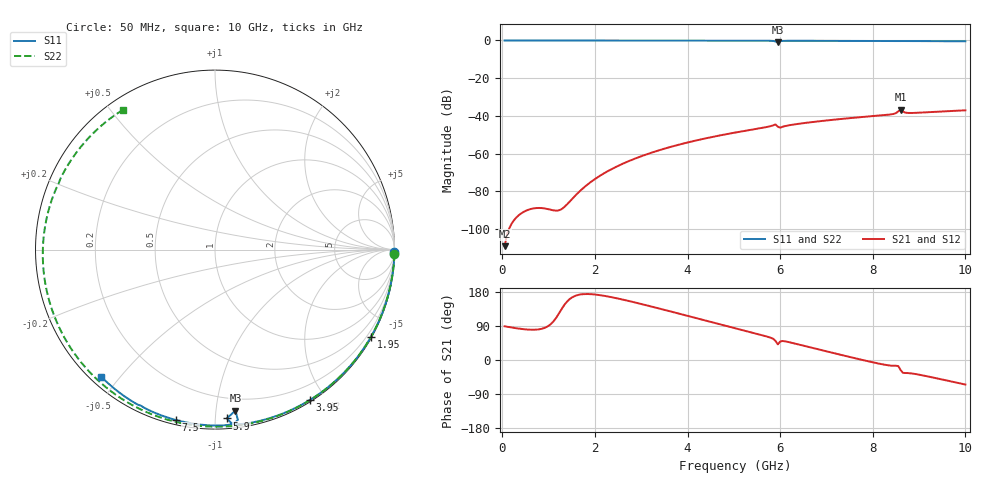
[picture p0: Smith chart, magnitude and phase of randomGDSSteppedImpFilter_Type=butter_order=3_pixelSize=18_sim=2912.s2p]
! freq	dB(S11)	phase(S11)	dB(S12)	phase(S12)
!  dB(S21)	phase(S21)	dB(S22)	phase(S22)
!S-par simulation data
#  GHz  S  DB  R 50
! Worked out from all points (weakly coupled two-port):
!   200 points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, 50 MHz to 10 GHz, reference 50 ohm
!   highest |S21| = -36.68 dB at 8.6 GHz (marker M1); lowest = -109.0 dB at 50 MHz (marker M2)
!   lowest |S11| = -0.9 dB at 5.95 GHz (marker M3), VSWR 19.82, Z = 5.75 - j56.4 ohm
!   |S11| at or under -10 dB: nowhere
!   |S22| runs from -0.6 to 0.0 dB; largest |S21 - S12| = 0
!   S11 on the Smith chart (normalised r, x): 50 MHz: open; 1.95 GHz: 0.03, -3.83; 3.95 GHz: 0.02, -1.81; 5.9 GHz: 0.06, -1.07; 7.5 GHz: 0.02, -0.80; 10 GHz: 0.03, -0.45
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0.05  -0.00 -0.8  -109.02 88.8  -109.02 88.8  -0.00 -1.4
0.8  -0.02 -12.1  -88.76 81.1  -88.76 81.1  -0.03 -22.6
1.65  -0.03 -24.8  -80.41 172.1  -80.41 172.1  -0.06 -45.8
1.75  -0.03 -26.3  -78.18 173.8  -78.18 173.8  -0.06 -48.5
1.95  -0.04 -29.3  -74.31 173.4  -74.31 173.4  -0.07 -53.8
2.6  -0.05 -38.7  -65.34 159.4  -65.34 159.4  -0.09 -70.5
3.4  -0.07 -50.1  -58.09 135.5  -58.09 135.5  -0.11 -90.1
3.95  -0.08 -57.8  -54.37 118.1  -54.37 118.1  -0.14 -102.9
5.05  -0.11 -72.6  -48.71 83.1  -48.71 83.1  -0.19 -127.4
5.75  -0.16 -82.5  -45.67 60.6  -45.67 60.6  -0.23 -142.3
5.9  -0.51 -86.0  -44.51 50.2  -44.51 50.2  -0.24 -145.5
5.95  -0.88 -82.8  -45.70 41.2  -45.70 41.2  -0.24 -146.6
6  -0.37 -82.3  -46.24 48.6  -46.24 48.6  -0.24 -147.6
6.1  -0.20 -84.7  -45.41 49.4  -45.41 49.4  -0.25 -149.7
6.7  -0.18 -93.1  -43.23 31.9  -43.23 31.9  -0.29 -162.3
7.5  -0.23 -102.9  -41.17 8.0  -41.17 8.0  -0.36 -179.3
8.35  -0.29 -112.9  -39.31 -14.3  -39.31 -14.3  -0.44 162.2
8.5  -0.31 -114.7  -38.52 -15.1  -38.52 -15.1  -0.47 158.8
8.6  -0.33 -115.6  -36.68 -26.3  -36.68 -26.3  -0.48 156.7
8.7  -0.31 -116.9  -38.22 -34.4  -38.22 -34.4  -0.47 154.4
8.8  -0.32 -118.1  -38.45 -34.9  -38.45 -34.9  -0.48 152.1
10  -0.44 -131.8  -37.02 -64.8  -37.02 -64.8  -0.61 123.2
